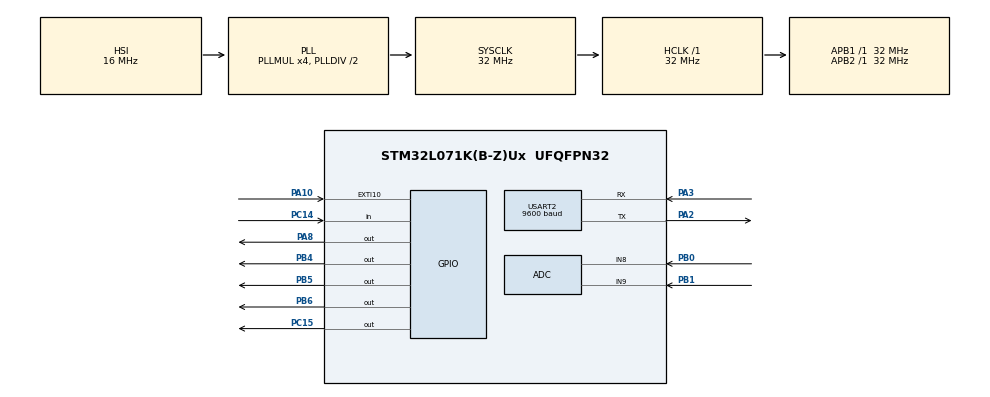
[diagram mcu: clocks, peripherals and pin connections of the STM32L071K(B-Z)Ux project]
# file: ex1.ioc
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ADC.DiscontinuousConvMode=ENABLE
Dma.MEMTOMEM.0.Direction=DMA_MEMORY_TO_MEMORY
Dma.MEMTOMEM.0.Instance=DMA1_Channel1
Dma.MEMTOMEM.0.MemDataAlignment=DMA_MDATAALIGN_BYTE
Dma.MEMTOMEM.0.MemInc=DMA_MINC_ENABLE
Dma.MEMTOMEM.0.Mode=DMA_NORMAL
Dma.MEMTOMEM.0.PeriphDataAlignment=DMA_PDATAALIGN_BYTE
Dma.MEMTOMEM.0.PeriphInc=DMA_PINC_ENABLE
Dma.MEMTOMEM.0.Priority=DMA_PRIORITY_LOW
Dma.Request0=MEMTOMEM
Dma.Request1=USART2_RX
Dma.USART2_RX.1.Direction=DMA_PERIPH_TO_MEMORY
Dma.USART2_RX.1.Instance=DMA1_Channel5
Dma.USART2_RX.1.MemDataAlignment=DMA_MDATAALIGN_BYTE
Dma.USART2_RX.1.MemInc=DMA_MINC_ENABLE
Dma.USART2_RX.1.Mode=DMA_CIRCULAR
Dma.USART2_RX.1.PeriphDataAlignment=DMA_PDATAALIGN_BYTE
Dma.USART2_RX.1.PeriphInc=DMA_PINC_DISABLE
Dma.USART2_RX.1.Priority=DMA_PRIORITY_LOW
Mcu.Family=STM32L0
Mcu.Name=STM32L071K(B-Z)Ux
Mcu.Package=UFQFPN32
NVIC.ADC1_COMP_IRQn=true\:0\:0\:false\:false\:true\:true\:true
NVIC.DMA1_Channel1_IRQn=true\:0\:0\:false\:false\:true\:true\:true
NVIC.DMA1_Channel4_5_6_7_IRQn=true\:0\:0\:false\:false\:true\:false\:true
NVIC.EXTI4_15_IRQn=true\:0\:0\:false\:false\:true\:true\:true
NVIC.TIM6_IRQn=true\:0\:0\:false\:false\:true\:true\:true
NVIC.USART2_IRQn=true\:0\:0\:false\:false\:true\:true\:true
PA10.Signal=GPXTI10
PA13.Mode=Serial_Wire
PA13.Signal=SYS_SWDIO
PA14.Mode=Serial_Wire
PA14.Signal=SYS_SWCLK
PA2.Mode=Asynchronous
PA2.Signal=USART2_TX
PA3.Mode=Asynchronous
PA3.Signal=USART2_RX
PA8.Signal=GPIO_Output
PB0.Mode=IN8
PB0.Signal=ADC_IN8
PB1.Mode=IN9
PB1.Signal=ADC_IN9
PB4.Signal=GPIO_Output
PB5.Signal=GPIO_Output
PB6.Signal=GPIO_Output
PC14-OSC32_IN.Signal=GPIO_Input
PC15-OSC32_OUT.Signal=GPIO_Output
ProjectManager.HeapSize=0x200
ProjectManager.StackSize=0x400
ProjectManager.TargetToolchain=MDK-ARM V5
RCC.AHBFreq_Value=32000000
RCC.APB1Freq_Value=32000000
RCC.APB1TimFreq_Value=32000000
RCC.APB2Freq_Value=32000000
RCC.APB2TimFreq_Value=32000000
RCC.HCLKFreq_Value=32000000
RCC.HSI16_VALUE=16000000
RCC.HSI_VALUE=16000000
RCC.LSE_VALUE=32768
RCC.MSI_VALUE=2097000
RCC.PLLMUL=RCC_PLLMUL_4
RCC.SYSCLKFreq_VALUE=32000000
RCC.SYSCLKSource=RCC_SYSCLKSOURCE_PLLCLK
RCC.VCOOutputFreq_Value=64000000
RTC.Format=RTC_FORMAT_BIN
RTC.Hours=23
RTC.Minutes=59
RTC.Seconds=55
RTC.SynchPrediv=307
TIM6.Period=999
TIM6.Prescaler=31
USART2.BaudRate=9600
USART2.VirtualMode-Asynchronous=VM_ASYNC
VP_CRC_VS_CRC.Mode=CRC_Activate
VP_RTC_VS_RTC_Activate.Mode=RTC_Enabled
VP_RTC_VS_RTC_Calendar.Mode=RTC_Calendar
VP_TIM6_VS_ClockSourceINT.Mode=Enable_Timer
board=custom

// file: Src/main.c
/* USER CODE BEGIN Header */
/**
  ******************************************************************************
  * @file           : main.c
  * @brief          : Main program body
  ******************************************************************************
  * @attention
  *
  * <h2><center>&copy; Copyright (c) 2019 STMicroelectronics.
  * All rights reserved.</center></h2>
  *
  * This software component is licensed by ST under BSD 3-Clause license,
  * the "License"; You may not use this file except in compliance with the
  * License. You may obtain a copy of the License at:
  *                        opensource.org/licenses/BSD-3-Clause
  *
  ******************************************************************************
  */
/* USER CODE END Header */

#include "main.h"
#include "adc.h"
#include "crc.h"
#include "dma.h"
#include "rtc.h"
#include "tim.h"
#include "usart.h"
#include "gpio.h"

/* USER CODE BEGIN Includes */
#include "stm32l0xx_hal.h"
#include "zm4xx_gpio.h"
#include "spi.h"
#include "timer.h"
#include "stdio.h"
#include "sx127x_lora.h"
/* USER CODE END Includes */

/* USER CODE BEGIN PTD */
#define FREQ  (433000000)
void SystemClock_Config(void);
void Hardware_Init(void);
radio_handle_t  handle;
int ret = RADIO_RET_OK;

    uint16_t len = 0;
		uint8_t rx = 0;
		uint8_t	tx = 0xAA;
		uint8_t cntr = 0;
	char lcdLine_1st_line[16];
  char lcdLine_2st_line[16];
	unsigned int  time_100ms=1,time_800ms=1;
	unsigned int	lora_flag=0;
	unsigned char send[100]="123",reply[100],usar_flag=0;
/* USER CODE END PTD */

void SystemClock_Config(void);

/* USER CODE BEGIN 0 */
void Task_BrdInit(void)
{
    HAL_GPIO_WritePin(GPIOC, GPIO_PIN_15, GPIO_PIN_SET);

    OLED_PowerControl(ENABLE);

    HAL_Delay(200);
    OLED_Init();
    OLED_Clear();

    OLED_ShowString(0, 0, (unsigned char *)"                ", 16);
    OLED_ShowString(0, 2, (unsigned char *)"                ", 16);
}
void LoRa_Init(void)
{

	handle = radio_zm4xx_inst_init(spi_recv_byte,spi_send_byte,zm4xx_rst_pin_set,zm4xx_sel_pin_set,delay_ms,delay_us);

	if(handle != NULL){
		if(RADIO_RET_OK == radio_freq_set(handle, FREQ)){
				HAL_GPIO_WritePin(GPIOC, GPIO_PIN_15,GPIO_PIN_RESET);
		}

		radio_mode_set(handle, RX_MODE);	//Receive Mode
	}
}
void rx2(void);
/* USER CODE END 0 */

int main(void)
{

  /* MCU Configuration--------------------------------------------------------*/

  /* Reset of all peripherals, Initializes the Flash interface and the Systick. */
  HAL_Init();

  /* Configure the system clock */
  SystemClock_Config();

  /* Initialize all configured peripherals */
  MX_GPIO_Init();
  MX_DMA_Init();
  MX_CRC_Init();
  MX_USART2_UART_Init();
  MX_RTC_Init();
  MX_TIM6_Init();
  MX_ADC_Init();
  /* USER CODE BEGIN 2 */
    Task_BrdInit();
		zm4xx_pin_init(); //LORA��Ҫ
    spi_init();//LORA��Ҫ
		LoRa_Init();
		HAL_TIM_Base_Start_IT(&htim6);
		__HAL_UART_CLEAR_IDLEFLAG(&huart2);
		__HAL_UART_ENABLE_IT(&huart2,UART_IT_IDLE);
		HAL_UART_Transmit(&huart2,send,3,100);
		HAL_UART_Receive_DMA(&huart2,reply,50);
		sprintf(lcdLine_1st_line, "GXCT IOT       ");
		sprintf(lcdLine_2st_line, "Hello World    ");
  /* USER CODE END 2 */

  /* Infinite loop */
    while (1)
    {

    /* USER CODE BEGIN 3 */
			if(time_100ms==1)
			{
				OLED_ShowString(0, 0, (unsigned char *)lcdLine_1st_line, 16);
				OLED_ShowString(0, 2, (unsigned char *)lcdLine_2st_line, 16);
			}
    }
  /* USER CODE END 3 */
}

void SystemClock_Config(void)
{
  RCC_OscInitTypeDef RCC_OscInitStruct = {0};
  RCC_ClkInitTypeDef RCC_ClkInitStruct = {0};
  RCC_PeriphCLKInitTypeDef PeriphClkInit = {0};

  /** Configure the main internal regulator output voltage
  */
  __HAL_PWR_VOLTAGESCALING_CONFIG(PWR_REGULATOR_VOLTAGE_SCALE1);
  /** Initializes the CPU, AHB and APB busses clocks
  */
  RCC_OscInitStruct.OscillatorType = RCC_OSCILLATORTYPE_HSI|RCC_OSCILLATORTYPE_LSI;
  RCC_OscInitStruct.HSIState = RCC_HSI_ON;
  RCC_OscInitStruct.HSICalibrationValue = RCC_HSICALIBRATION_DEFAULT;
  RCC_OscInitStruct.LSIState = RCC_LSI_ON;
  RCC_OscInitStruct.PLL.PLLState = RCC_PLL_ON;
  RCC_OscInitStruct.PLL.PLLSource = RCC_PLLSOURCE_HSI;
  RCC_OscInitStruct.PLL.PLLMUL = RCC_PLLMUL_4;
  RCC_OscInitStruct.PLL.PLLDIV = RCC_PLLDIV_2;
  if (HAL_RCC_OscConfig(&RCC_OscInitStruct) != HAL_OK)
  {
    Error_Handler();
  }
  /** Initializes the CPU, AHB and APB busses clocks
  */
  RCC_ClkInitStruct.ClockType = RCC_CLOCKTYPE_HCLK|RCC_CLOCKTYPE_SYSCLK
                              |RCC_CLOCKTYPE_PCLK1|RCC_CLOCKTYPE_PCLK2;
  RCC_ClkInitStruct.SYSCLKSource = RCC_SYSCLKSOURCE_PLLCLK;
  RCC_ClkInitStruct.AHBCLKDivider = RCC_SYSCLK_DIV1;
  RCC_ClkInitStruct.APB1CLKDivider = RCC_HCLK_DIV1;
  RCC_ClkInitStruct.APB2CLKDivider = RCC_HCLK_DIV1;

  if (HAL_RCC_ClockConfig(&RCC_ClkInitStruct, FLASH_LATENCY_1) != HAL_OK)
  {
    Error_Handler();
  }
  PeriphClkInit.PeriphClockSelection = RCC_PERIPHCLK_USART2|RCC_PERIPHCLK_RTC;
  PeriphClkInit.Usart2ClockSelection = RCC_USART2CLKSOURCE_PCLK1;
  PeriphClkInit.RTCClockSelection = RCC_RTCCLKSOURCE_LSI;
  if (HAL_RCCEx_PeriphCLKConfig(&PeriphClkInit) != HAL_OK)
  {
    Error_Handler();
  }
}

/* USER CODE BEGIN 4 */
void HAL_TIM_PeriodElapsedCallback(TIM_HandleTypeDef *htim)
{
	static unsigned int i=0;
	if(htim->Instance==TIM6)
	{
		i++;
		if(i==99999)	i=0;
		if(i%100==0)	time_100ms=!time_100ms;
		if(i%800==0)	time_800ms=!time_800ms;
	}
}
void rx2()
{
	if(__HAL_UART_GET_FLAG(&huart2,UART_IT_IDLE))
	{
		__HAL_UART_CLEAR_IDLEFLAG(&huart2);
		HAL_UART_DMAStop(&huart2);
		usar_flag=1;
		HAL_UART_Receive_DMA(&huart2,reply,50);
	}
}
void HAL_GPIO_EXTI_Callback(uint16_t GPIO_Pin)
{
	if(GPIO_Pin==GPIO_PIN_10)
	{
		ret = radio_buf_recv(handle, &rx, &len);
		lora_flag=1;
	}
}
//ret = radio_buf_recv(handle, &rx, &len);
//			if(ret == RADIO_RET_OK){
//				ret = -1;
//				if(rx == 0x55){
//						HAL_GPIO_TogglePin(GPIOC, GPIO_PIN_15);
//				}
//			}
//
//			if(++cntr == 40){
//				radio_buf_send(handle, &tx, 1); 	//
//				radio_mode_set(handle, RX_MODE);
//				cntr = 0;
//			}
/* USER CODE END 4 */

void Error_Handler(void)
{
}

/************************ (C) COPYRIGHT STMicroelectronics *****END OF FILE****/
